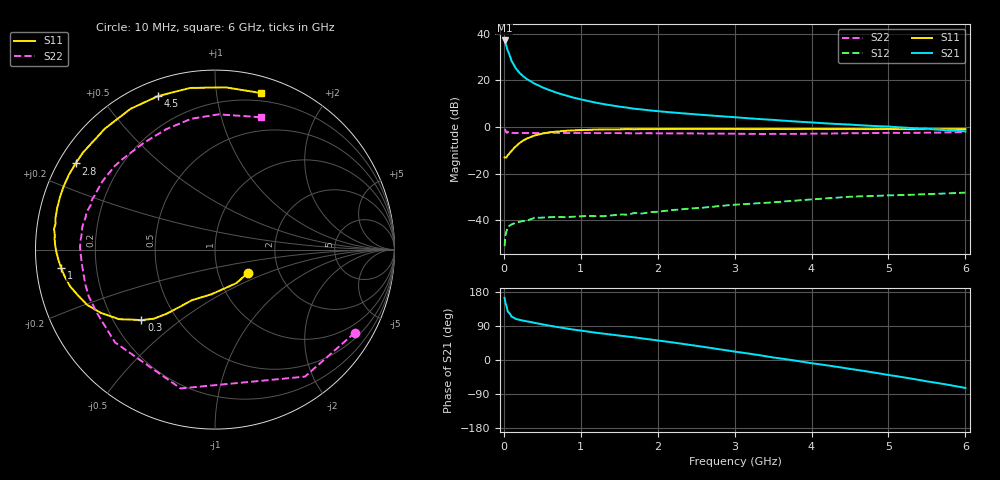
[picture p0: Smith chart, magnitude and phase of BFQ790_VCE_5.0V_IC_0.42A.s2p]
! Infineon Technologies  Discrete & RF Semiconductors
! BFQ790
! VCE =  5.0 V,  IC = 0.42 A
! Common Emitter S-Parameters:  May 2015
# GHz  S  MA  R  50
!  f  S11  S21  S12  S22
! GHz  MAG  ANG  MAG  ANG  MAG  ANG  MAG  ANG
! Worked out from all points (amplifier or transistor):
!   77 points, 10 MHz to 6 GHz, reference 50 ohm
!   highest |S21| = 37.2 dB at 10 MHz (marker M1)
!   |S21| within 3 dB of that: start of sweep to 38.44 MHz
!   unconditionally stable (mu >= 1): 141.5 MHz to end of sweep
!   at 130 MHz: K = 0.94, MSG = 34.0 dB, |S12| = -41.3 dB
!   at 2.2 GHz: K = 1.41, MAG = 17.1 dB, |S12| = -35.5 dB
!   at 6 GHz: K = 1.13, MAG = 10.9 dB, |S12| = -28.1 dB
!   S11 on the Smith chart (normalised r, x): 10 MHz: 1.39, -0.38; 300 MHz: 0.32, -0.37; 1 GHz: 0.07, -0.06; 2.8 GHz: 0.05, +0.28; 4.5 GHz: 0.07, +0.69; 6 GHz: 0.13, +1.33
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0.01  0.2248 -34.9  72.11 164.0  0.0028 73.4  0.9062 -30.7
0.02  0.2216 -57.2  65.09 151.4  0.0047 60.7  0.8671 -54.7
0.05  0.25 -94.7  43.99 128.0  0.0073 36.0  0.7969 -103.9
0.1  0.3101 -114.6  26.23 114.2  0.0082 22.3  0.7601 -137.1
0.15  0.3786 -122.0  18.69 108.9  0.0088 25.5  0.7469 -151.9
0.2  0.4486 -127.1  14.76 106.2  0.0093 24.7  0.7502 -159.6
0.25  0.5137 -131.5  12.35 103.9  0.0097 21.8  0.7478 -164.7
0.3  0.5677 -136.2  10.65 102.0  0.0099 15.7  0.7454 -168.7
0.4  0.6609 -144.1  8.536 97.9  0.0114 16.4  0.7461 -174.0
0.5  0.7264 -150.9  7.133 94.0  0.0115 14.0  0.7485 -177.9
0.6  0.7761 -156.6  6.153 90.4  0.0117 15.4  0.7523 178.9
0.8  0.8332 -165.8  4.806 83.7  0.0117 12.9  0.7482 174.3
1  0.8631 -173.1  3.943 77.7  0.0122 14.2  0.7501 170.7
1.1  0.8748 -176.4  3.609 74.8  0.0125 16.6  0.7481 168.8
1.5  0.8966 174.6  2.751 64.5  0.0134 17.5  0.7425 163.0
2.1  0.91 163.3  2.123 49.0  0.016 19.2  0.7342 154.3
2.8  0.913 148.3  1.721 28.4  0.0203 11.7  0.727 140.1
3.1  0.9098 141.4  1.583 19.4  0.0222 9.1  0.7177 133.6
4.1  0.9118 118.9  1.229 -11.2  0.0289 -5.8  0.7246 109.7
4.5  0.9122 110.4  1.133 -23.4  0.0322 -13.3  0.7409 100.3
5.1  0.9067 96.3  1 -42.6  0.0347 -25.9  0.7529 86.5
6  0.9091 73.6  0.813 -73.8  0.0395 -47.1  0.7802 70.8
